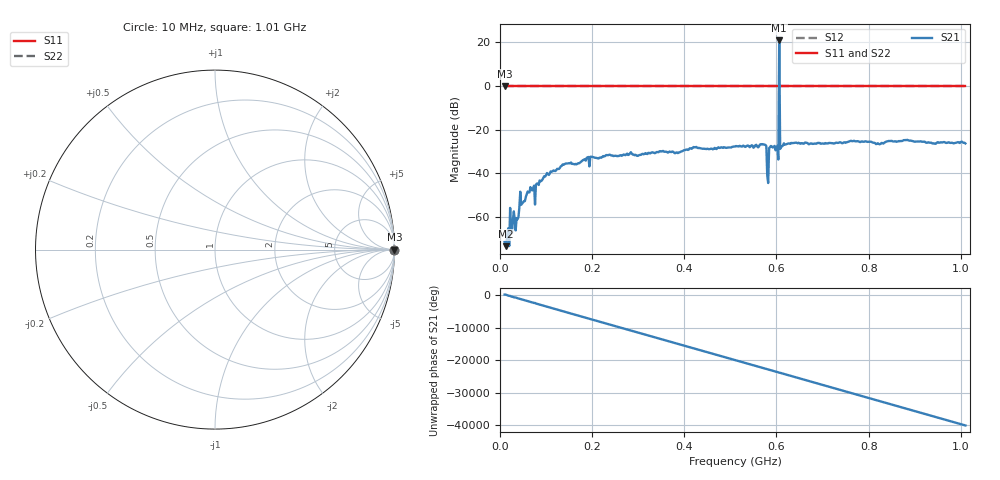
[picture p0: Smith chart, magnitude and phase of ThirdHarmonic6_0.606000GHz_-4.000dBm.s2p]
! 8/15/2025 7:48:55 PM
! C:\ANRITSUVNA\TEMP\TEMP.S2P
! CHANNEL.1
! TR.MEASUREMENT
! RAW.DATA
! RF.CORRECTION.OFF
! AVERAGING.OFF
! IF.BANDWIDTH: 5KHZ
! SWEEPTYPE:  FREQ.SWEEP(Linear)
! Reference Plane Port Info
! PORT:  PORT1  PORT2
! DISTANCE:  0  m  0  m
! TIME:  0  s  0  s
! PHASE.OFFSET:  0  deg.  0  deg.
! LOSS:  0  dB  0  dB
! REF.LOSS:  0  dB  0  dB
! REF.FREQ:  0  Hz  0  Hz
! Power Info
! POWER:  -20  dBm  -20  dBm
! EFF.POWER:  -20  dBm  -20  dBm
! SOURCE.ATTEN:  0  dB  0  dB
! TEST.ATTEN:  0  dB  0  dB
# GHZ S RI R 50.0
! FREQ.GHZ  S11RE  S11IM  S21RE  S21IM  S12RE  S12IM  S22RE  S22IM
!; PortSelection: Port_12
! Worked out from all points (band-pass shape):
!   501 points, 10 MHz to 1.01 GHz, reference 50 ohm
!   highest |S21| = 20.85 dB at 606 MHz (marker M1); lowest = -73.3 dB at 12 MHz (marker M2)
!   |S21| within 3 dB of the highest: 605.8898 MHz to 606.1209 MHz (231.1 kHz wide, 0.0381 % of centre)
!   lowest |S11| = 0.0 dB at 10 MHz (marker M3)
!   |S11| at or under -10 dB: nowhere
!   |S22| runs from 0.0 to 0.0 dB; largest |S21 - S12| = 12
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0.01  1 0  -0.000218 0.000165  1 0  1 0
0.012  1 0  -0.000203 7.78e-05  1 0  1 0
0.026  1 0  -0.000306 -0.000306  1 0  1 0
0.036  1 0  -0.000839 -0.000457  1 0  1 0
0.046  1 0  -0.00177 0.000747  1 0  1 0
0.062  1 0  -0.00337 -0.00153  1 0  1 0
0.136  1 0  0.00137 0.0161  1 0  1 0
0.178  1 0  -0.0191 -0.00364  1 0  1 0
0.344  1 0  0.0293 -0.00886  1 0  1 0
0.51  1 0  -0.0367 0.0188  1 0  1 0
0.574  1 0  -0.00448 0.0457  1 0  1 0
0.578  1 0  0.016 -0.0392  1 0  1 0
0.582  1 0  -0.00373 0.00476  1 0  1 0
0.588  1 0  -0.0118 -0.0409  1 0  1 0
0.6  1 0  -0.0282 0.0261  1 0  1 0
0.602  1 0  0.0237 0.0356  1 0  1 0
0.606  1 0  -7.994 -7.603  1 0  1 0
0.61  1 0  -0.00656 0.04  1 0  1 0
0.612  1 0  0.039 0.0141  1 0  1 0
0.678  1 0  -0.0277 -0.0386  1 0  1 0
0.844  1 0  0.0463 0.0306  1 0  1 0
1.01  1 0  -0.0485 -0.00317  1 0  1 0
